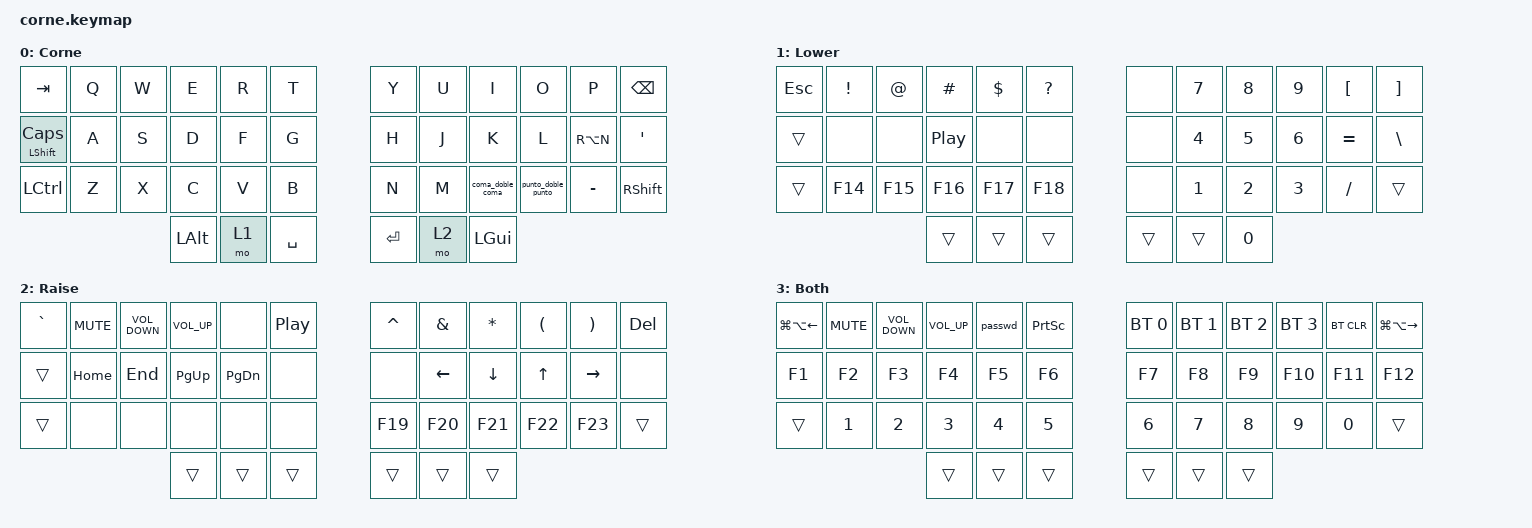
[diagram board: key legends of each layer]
#include <behaviors.dtsi>
#include <dt-bindings/zmk/bt.h>
#include <dt-bindings/zmk/keys.h>
#include <dt-bindings/zmk/outputs.h>

/ {
    combos {
        compatible = "zmk,combos";

        doubleshiftbletog {
            bindings = <&out OUT_TOG>;
            key-positions = <24 35>;
            layers = <3>;
        };

        doubleshiftcapslock {
            bindings = <&kp CAPSLOCK>;
            key-positions = <24 35>;
            layers = <0 1 2>;
            timeout-ms = <200>;
            slow-release;
        };
    };

    behaviors {
        punto_doble_punto: new_behavior {
            compatible = "zmk,behavior-mod-morph";
            label = "dot_col";
            bindings = <&kp DOT>, <&kp COLON>;

            #binding-cells = <0>;
            mods = <(MOD_LSFT|MOD_RSFT)>;
        };

        coma_doble_coma: new_behaviore {
            compatible = "zmk,behavior-mod-morph";
            label = "coma_doble_coma";
            bindings = <&kp COMMA>, <&kp SEMICOLON>;

            #binding-cells = <0>;
            mods = <(MOD_LSFT|MOD_RSFT)>;
        };
    };

    macros {
        passwd: passwd {
            compatible = "zmk,behavior-macro";
            #binding-cells = <0>;
            bindings = <&kp F &kp R &kp N4 &kp N &kp C &kp E &kp S &kp C &kp DOT &kp LS(P) &kp O &kp R &kp R &kp E &kp T &kp A>;
            label = "PASSWD";
        };
    };

    keymap {
        compatible = "zmk,keymap";

        Corne {
            bindings = <
&kp TAB                  &kp Q  &kp W  &kp E     &kp R  &kp T        &kp Y      &kp U  &kp I             &kp O               &kp P      &kp BSPC
&mt LEFT_SHIFT CAPSLOCK  &kp A  &kp S  &kp D     &kp F  &kp G        &kp H      &kp J  &kp K             &kp L               &kp RA(N)  &kp APOS
&kp LEFT_CONTROL         &kp Z  &kp X  &kp C     &kp V  &kp B        &kp N      &kp M  &coma_doble_coma  &punto_doble_punto  &kp MINUS  &kp RSHFT
                                       &kp LALT  &mo 1  &kp SPACE    &kp ENTER  &mo 2  &kp LGUI
            >;

            label = "Corne";
        };

        Lower {
            bindings = <
&kp ESC  &kp EXCL  &kp AT   &kp HASH          &kp DLLR  &kp QUESTION    &none   &kp N7  &kp N8  &kp N9  &kp LEFT_BRACKET  &kp RIGHT_BRACKET
&trans   &none     &none    &kp C_PLAY_PAUSE  &none     &none           &none   &kp N4  &kp N5  &kp N6  &kp EQUAL         &kp BSLH
&trans   &kp F14   &kp F15  &kp F16           &kp F17   &kp F18         &none   &kp N1  &kp N2  &kp N3  &kp SLASH         &trans
                            &trans            &trans    &trans          &trans  &trans  &kp N0
            >;

            label = "Lower";
        };

        Raise {
            bindings = <
&kp GRAVE  &kp C_MUTE  &kp C_VOLUME_DOWN  &kp C_VOL_UP  &none          &kp C_PLAY_PAUSE    &kp CARET  &kp AMPS        &kp STAR        &kp LPAR      &kp RPAR         &kp DELETE
&trans     &kp HOME    &kp END            &kp PAGE_UP   &kp PAGE_DOWN  &none               &none      &kp LEFT_ARROW  &kp DOWN_ARROW  &kp UP_ARROW  &kp RIGHT_ARROW  &none
&trans     &none       &none              &none         &none          &none               &kp F19    &kp F20         &kp F21         &kp F22       &kp F23          &trans
                                          &trans        &trans         &trans              &trans     &trans          &trans
            >;

            label = "Raise";
        };

        Both {
            bindings = <
&kp LG(LA(LEFT_ARROW))  &kp C_MUTE    &kp C_VOLUME_DOWN  &kp C_VOL_UP  &passwd       &kp PRINTSCREEN    &bt BT_SEL 0  &bt BT_SEL 1  &bt BT_SEL 2  &bt BT_SEL 3  &bt BT_CLR    &kp LG(LA(RIGHT_ARROW))
&kp F1                  &kp F2        &kp F3             &kp F4        &kp F5        &kp F6             &kp F7        &kp F8        &kp F9        &kp F10       &kp F11       &kp F12
&trans                  &kp NUMBER_1  &kp NUMBER_2       &kp NUMBER_3  &kp NUMBER_4  &kp NUMBER_5       &kp NUMBER_6  &kp NUMBER_7  &kp NUMBER_8  &kp NUMBER_9  &kp NUMBER_0  &trans
                                                         &trans        &trans        &trans             &trans        &trans        &trans
            >;

            label = "Both";
        };
    };

    conditional_layers {
        compatible = "zmk,conditional-layers";

        activateboth {
            if-layers = <1 2>;
            then-layer = <3>;
        };
    };
};
